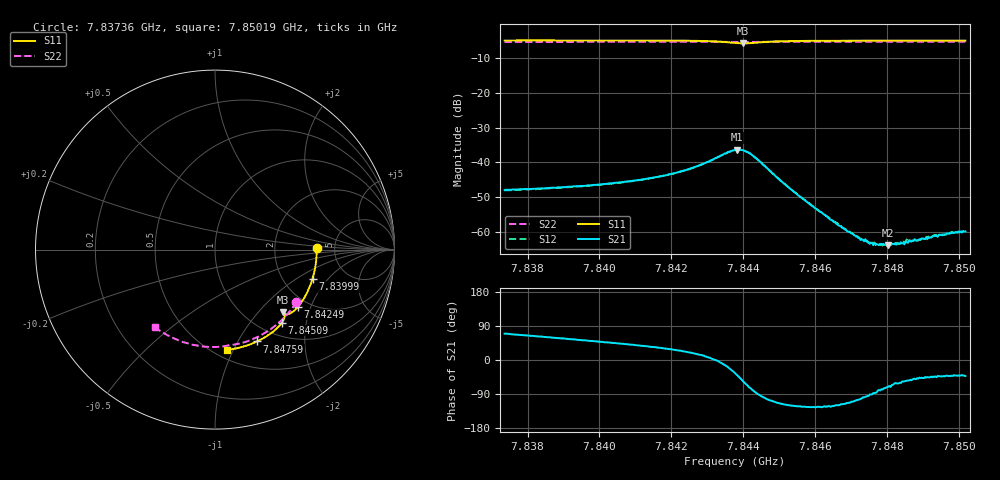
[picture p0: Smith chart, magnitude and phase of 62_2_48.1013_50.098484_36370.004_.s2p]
#  HZ  S  RI  R  50.00
! Rohde & Schwarz Vector Network Analyzer
! Rohde-Schwarz,ZNB20-2Port,1311601062101988,3.16
! Created: UTC 12/23/2023, 3:40:51 AM
! freq[Hz]  re:S11  im:S11  re:S21  im:S21  re:S12  im:S12  re:S22  im:S22
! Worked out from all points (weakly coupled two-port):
!   401 points, 7.83736 GHz to 7.85019 GHz, reference 50 ohm
!   highest |S21| = -36.35 dB at 7.84384 GHz (marker M1); lowest = -63.9 dB at 7.84804 GHz (marker M2)
!   lowest |S11| = -5.8 dB at 7.844 GHz (marker M3), VSWR 3.12, Z = 72 - j68.6 ohm
!   |S11| at or under -10 dB: nowhere
!   |S22| runs from -5.4 to -5.3 dB; largest |S21 - S12| = 0.00049
!   S11 on the Smith chart (normalised r, x): 7.83736 GHz: 3.61, +0.12; 7.83999 GHz: 2.89, -1.38; 7.84249 GHz: 1.76, -1.64; 7.84509 GHz: 1.25, -1.46; 7.84759 GHz: 0.81, -1.21; 7.85019 GHz: 0.58, -0.95
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7.837361e9  0.5663 0.011  0.00139 0.00372  0.00142 0.00368  0.4541 -0.2919
7.83951e9  0.5517 -0.1311  0.0028 0.0036  0.00272 0.00357  0.3567 -0.4063
7.839991e9  0.5433 -0.1624  0.00318 0.00358  0.00311 0.00355  0.3307 -0.4278
7.841659e9  0.4984 -0.2674  0.00527 0.00334  0.00523 0.00333  0.2314 -0.4894
7.842492e9  0.464 -0.3173  0.00749 0.00274  0.00742 0.00278  0.177 -0.5116
7.843294e9  0.4151 -0.3571  0.0119 -0.000488  0.0118 -0.000599  0.1224 -0.5266
7.843775e9  0.3806 -0.3574  0.0123 -0.00854  0.0123 -0.00833  0.0903 -0.5316
7.843839e9  0.3782 -0.3551  0.0116 -0.0099  0.0116 -0.00966  0.0862 -0.5322
7.844e9  0.3771 -0.35  0.00824 -0.0124  0.00865 -0.0121  0.0761 -0.5335
7.84432e9  0.3861 -0.3552  0.00134 -0.0118  0.00141 -0.0117  0.0555 -0.5373
7.84509e9  0.3731 -0.4068  -0.00225 -0.00469  -0.00228 -0.00468  0.00188 -0.5427
7.845924e9  0.3317 -0.451  -0.00133 -0.00192  -0.00135 -0.00194  -0.0568 -0.5407
7.846597e9  0.294 -0.4788  -0.000627 -0.00114  -0.000663 -0.00117  -0.1039 -0.5343
7.847271e9  0.2543 -0.502  -0.000166 -0.000745  -0.000167 -0.000779  -0.15 -0.5235
7.847592e9  0.2348 -0.5115  -7.61e-06 -0.000695  1.49e-05 -0.00072  -0.1716 -0.5171
7.847752e9  0.2249 -0.516  0.000103 -0.000646  6.54e-05 -0.000657  -0.1822 -0.5136
7.84804e9  0.207 -0.5236  0.000215 -0.0006  0.000211 -0.000581  -0.2012 -0.5065
7.848073e9  0.2051 -0.5244  0.000231 -0.000598  0.000244 -0.000588  -0.2034 -0.5058
7.848522e9  0.1767 -0.5346  0.000407 -0.000588  0.000386 -0.00058  -0.2324 -0.4934
7.848874e9  0.1541 -0.5414  0.000498 -0.000573  0.000468 -0.000576  -0.2545 -0.4825
7.849323e9  0.1251 -0.5489  0.000618 -0.000617  0.000648 -0.000607  -0.282 -0.4673
7.850189e9  0.0682 -0.5584  0.000746 -0.00068  0.0008 -0.000665  -0.3325 -0.4333
